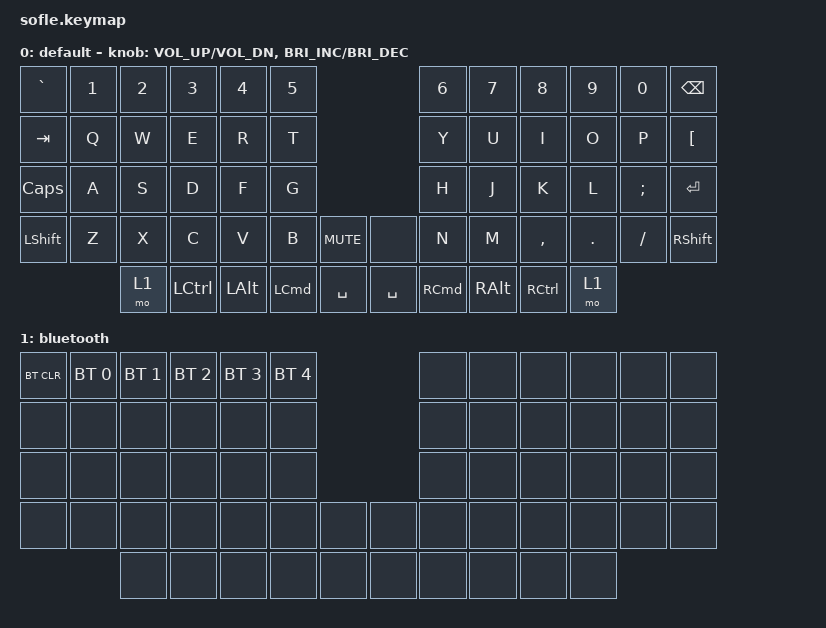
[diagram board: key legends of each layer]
/*
 * Copyright (c) 2020 The ZMK Contributors
 *
 * SPDX-License-Identifier: MIT
 */

#include <behaviors.dtsi>
#include <dt-bindings/zmk/bt.h>
#include <dt-bindings/zmk/keys.h>

#define BASE 0
#define LOWER 1
#define RAISE 2
#define ADJUST 3

/ {
    // Activate ADJUST layer by pressing raise and lower

    conditional_layers {
        compatible = "zmk,conditional-layers";

        adjust_layer {
            if-layers = <1 1>;
            then-layer = <1>;
        };
    };

    keymap {
        compatible = "zmk,keymap";

        default_layer {
            display-name = "default";

            // ------------------------------------------------------------------------------------------------------------
            // |   `   |  1  |  2  |  3   |  4   |  5   |                   |  6   |  7    |  8    |  9   |   0   |       |
            // |  ESC  |  Q  |  W  |  E   |  R   |  T   |                   |  Y   |  U    |  I    |  O   |   P   | BKSPC |
            // |  TAB  |  A  |  S  |  D   |  F   |  G   |                   |  H   |  J    |  K    |  L   |   ;   |   '   |
            // | SHIFT |  Z  |  X  |  C   |  V   |  B   |  MUTE  |  |       |  N   |  M    |  ,    |  .   |   /   | SHIFT |
            //               | GUI | ALT  | CTRL | LOWER|  ENTER |  | SPACE | RAISE| CTRL  | ALT   | GUI  |

            bindings = <
&kp GRAVE  &kp N1  &kp N2  &kp N3            &kp N4        &kp N5                                     &kp N6             &kp N7         &kp N8             &kp N9   &kp N0    &kp BACKSPACE
&kp TAB    &kp Q   &kp W   &kp E             &kp R         &kp T                                      &kp Y              &kp U          &kp I              &kp O    &kp P     &kp LEFT_BRACKET
&kp CAPS   &kp A   &kp S   &kp D             &kp F         &kp G                                      &kp H              &kp J          &kp K              &kp L    &kp SEMI  &kp ENTER
&kp LSHFT  &kp Z   &kp X   &kp C             &kp V         &kp B             &kp C_MUTE    &none      &kp N              &kp M          &kp COMMA          &kp DOT  &kp FSLH  &kp RSHFT
                   &mo 1   &kp LEFT_CONTROL  &kp LEFT_ALT  &kp LEFT_COMMAND  &kp SPACE     &kp SPACE  &kp RIGHT_COMMAND  &kp RIGHT_ALT  &kp RIGHT_CONTROL  &mo 1
            >;

            sensor-bindings =
                <&inc_dec_kp C_VOL_UP C_VOL_DN>,
                <&inc_dec_kp C_BRIGHTNESS_INC C_BRIGHTNESS_DEC>;
        };

        bluetooth_layer {
            // ----------------------------------------------------------------------------------------------------------------------------
            // | BTCLR  |  BT1    |  BT2    |   BT3   |   BT4   |   BT5   |                  |      |      |       |      |       |       |
            // | EXTPWR | RGB_HUD | RGB_HUI | RGB_SAD | RGB_SAI | RGB_EFF |                  |      |      |       |      |       |       |
            // |        | RGB_BRD | RGB_BRI |         |         |         |                  |      |      |       |      |       |       |
            // |        |         |         |         |         |         | RGB_TOG | |      |      |      |       |      |       |       |
            //                    |         |         |         |         |         | |      |      |      |       |      |

            display-name = "bluetooth";
            bindings = <
&bt BT_CLR  &bt BT_SEL 0  &bt BT_SEL 1  &bt BT_SEL 2  &bt BT_SEL 3  &bt BT_SEL 4                  &none  &none  &none  &none  &none  &none
&none       &none         &none         &none         &none         &none                         &none  &none  &none  &none  &none  &none
&none       &none         &none         &none         &none         &none                         &none  &none  &none  &none  &none  &none
&none       &none         &none         &none         &none         &none         &none    &none  &none  &none  &none  &none  &none  &none
                          &none         &none         &none         &none         &none    &none  &none  &none  &none  &none
            >;
        };
    };
};
